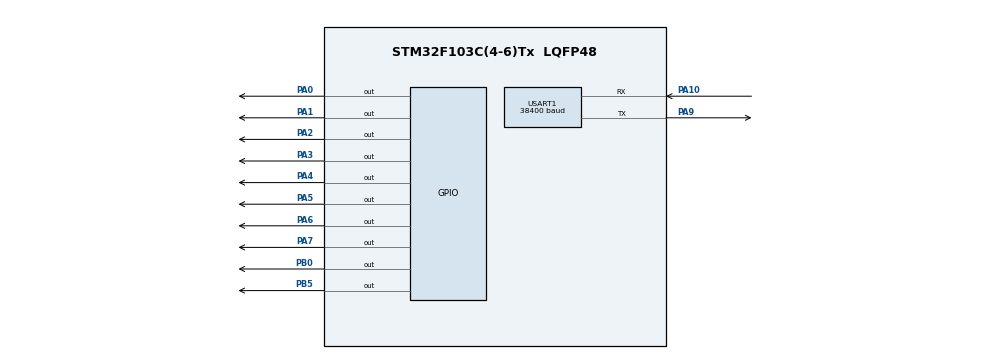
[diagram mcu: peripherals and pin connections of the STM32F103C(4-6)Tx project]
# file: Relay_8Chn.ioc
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Mcu.Family=STM32F1
Mcu.Name=STM32F103C(4-6)Tx
Mcu.Package=LQFP48
NVIC.PriorityGroup=NVIC_PRIORITYGROUP_4
NVIC.USART1_IRQn=true\:0\:0\:false\:false\:true\:true
PA0-WKUP.Signal=GPIO_Output
PA1.Signal=GPIO_Output
PA10.Mode=Asynchronous
PA10.Signal=USART1_RX
PA13.Mode=Serial_Wire
PA13.Signal=SYS_JTMS-SWDIO
PA14.Mode=Serial_Wire
PA14.Signal=SYS_JTCK-SWCLK
PA2.Signal=GPIO_Output
PA3.Signal=GPIO_Output
PA4.Signal=GPIO_Output
PA5.Signal=GPIO_Output
PA6.Signal=GPIO_Output
PA7.Signal=GPIO_Output
PA9.Mode=Asynchronous
PA9.Signal=USART1_TX
PB0.Signal=GPIO_Output
PB5.Signal=GPIO_Output
ProjectManager.HeapSize=0x200
ProjectManager.StackSize=0x400
ProjectManager.TargetToolchain=MDK-ARM V5
RCC.APB1Freq_Value=8000000
RCC.APB2Freq_Value=8000000
USART1.BaudRate=38400
USART1.VirtualMode=VM_ASYNC
VP_IWDG_VS_IWDG.Mode=IWDG_Activate
board=custom

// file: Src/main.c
/* USER CODE BEGIN Header */
/**
  ******************************************************************************
  * @file           : main.c
  * @brief          : Main program body
  ******************************************************************************
  ** This notice applies to any and all portions of this file
  * that are not between comment pairs USER CODE BEGIN and
  * USER CODE END. Other portions of this file, whether
  * inserted by the user or by software development tools
  * are owned by their respective copyright owners.
  *
  * COPYRIGHT(c) 2019 STMicroelectronics
  *
  * Redistribution and use in source and binary forms, with or without modification,
  * are permitted provided that the following conditions are met:
  *   1. Redistributions of source code must retain the above copyright notice,
  *      this list of conditions and the following disclaimer.
  *   2. Redistributions in binary form must reproduce the above copyright notice,
  *      this list of conditions and the following disclaimer in the documentation
  *      and/or other materials provided with the distribution.
  *   3. Neither the name of STMicroelectronics nor the names of its contributors
  *      may be used to endorse or promote products derived from this software
  *      without specific prior written permission.
  *
  * THIS SOFTWARE IS PROVIDED BY THE COPYRIGHT HOLDERS AND CONTRIBUTORS "AS IS"
  * AND ANY EXPRESS OR IMPLIED WARRANTIES, INCLUDING, BUT NOT LIMITED TO, THE
  * IMPLIED WARRANTIES OF MERCHANTABILITY AND FITNESS FOR A PARTICULAR PURPOSE ARE
  * DISCLAIMED. IN NO EVENT SHALL THE COPYRIGHT HOLDER OR CONTRIBUTORS BE LIABLE
  * FOR ANY DIRECT, INDIRECT, INCIDENTAL, SPECIAL, EXEMPLARY, OR CONSEQUENTIAL
  * DAMAGES (INCLUDING, BUT NOT LIMITED TO, PROCUREMENT OF SUBSTITUTE GOODS OR
  * SERVICES; LOSS OF USE, DATA, OR PROFITS; OR BUSINESS INTERRUPTION) HOWEVER
  * CAUSED AND ON ANY THEORY OF LIABILITY, WHETHER IN CONTRACT, STRICT LIABILITY,
  * OR TORT (INCLUDING NEGLIGENCE OR OTHERWISE) ARISING IN ANY WAY OUT OF THE USE
  * OF THIS SOFTWARE, EVEN IF ADVISED OF THE POSSIBILITY OF SUCH DAMAGE.
  *
  ******************************************************************************
  */
/* USER CODE END Header */

#include "main.h"
#include "iwdg.h"
#include "usart.h"
#include "gpio.h"

/* USER CODE BEGIN Includes */
#include "Modbus_svr.h"
#include "SysTick.h"
/* USER CODE END Includes */

void SystemClock_Config(void);

int main(void)
{
  /* USER CODE BEGIN 1 */
	int i ;
	int adr[] = {0, 1, 7, 6, 2, 3, 4, 5, 6, 7};
  /* USER CODE END 1 */

  /* MCU Configuration--------------------------------------------------------*/

  /* Reset of all peripherals, Initializes the Flash interface and the Systick. */
  HAL_Init();

  /* Configure the system clock */
  SystemClock_Config();

  /* Initialize all configured peripherals */
  MX_GPIO_Init();
  MX_IWDG_Init();
  MX_USART1_UART_Init();
  /* USER CODE BEGIN 2 */
	SysTick_Init() ;
	Modbus_init() ;
	SetTimer(0, 100) ;
	SetTimer(1, 1000) ;
	SetTimer(2, 500) ;
  /* USER CODE END 2 */

  /* Infinite loop */
  while (1)
  {

    /* USER CODE BEGIN 3 */
		Modbus_task() ;

		if ( GetTimer(0) )
		{
			HAL_IWDG_Refresh(&hiwdg) ;
		}

		if ( GetTimer(1) )
		{
			HAL_GPIO_TogglePin(GPIOB,GPIO_PIN_5) ;
		}

		if ( GetTimer(2) )
		{
			for(i = 0 ; i < 8 ; i++)
			{
				if ( mblock1.ptrRegs[i] )
					HAL_GPIO_WritePin(GPIOA,GPIO_PIN_0 << adr[i], GPIO_PIN_SET) ;
				else
					HAL_GPIO_WritePin(GPIOA,GPIO_PIN_0 << adr[i], GPIO_PIN_RESET) ;
			}
			if ( mblock1.ptrRegs[8] )
					HAL_GPIO_WritePin(GPIOB,GPIO_PIN_0, GPIO_PIN_SET) ;
				else
					HAL_GPIO_WritePin(GPIOB,GPIO_PIN_0, GPIO_PIN_RESET) ;
		}
  }
  /* USER CODE END 3 */
}

void SystemClock_Config(void)
{
  RCC_OscInitTypeDef RCC_OscInitStruct = {0};
  RCC_ClkInitTypeDef RCC_ClkInitStruct = {0};

  /**Initializes the CPU, AHB and APB busses clocks
  */
  RCC_OscInitStruct.OscillatorType = RCC_OSCILLATORTYPE_HSI|RCC_OSCILLATORTYPE_LSI;
  RCC_OscInitStruct.HSIState = RCC_HSI_ON;
  RCC_OscInitStruct.HSICalibrationValue = RCC_HSICALIBRATION_DEFAULT;
  RCC_OscInitStruct.LSIState = RCC_LSI_ON;
  RCC_OscInitStruct.PLL.PLLState = RCC_PLL_NONE;
  if (HAL_RCC_OscConfig(&RCC_OscInitStruct) != HAL_OK)
  {
    Error_Handler();
  }
  /**Initializes the CPU, AHB and APB busses clocks
  */
  RCC_ClkInitStruct.ClockType = RCC_CLOCKTYPE_HCLK|RCC_CLOCKTYPE_SYSCLK
                              |RCC_CLOCKTYPE_PCLK1|RCC_CLOCKTYPE_PCLK2;
  RCC_ClkInitStruct.SYSCLKSource = RCC_SYSCLKSOURCE_HSI;
  RCC_ClkInitStruct.AHBCLKDivider = RCC_SYSCLK_DIV1;
  RCC_ClkInitStruct.APB1CLKDivider = RCC_HCLK_DIV1;
  RCC_ClkInitStruct.APB2CLKDivider = RCC_HCLK_DIV1;

  if (HAL_RCC_ClockConfig(&RCC_ClkInitStruct, FLASH_LATENCY_0) != HAL_OK)
  {
    Error_Handler();
  }
}

void Error_Handler(void)
{
}

/************************ (C) COPYRIGHT STMicroelectronics *****END OF FILE****/
